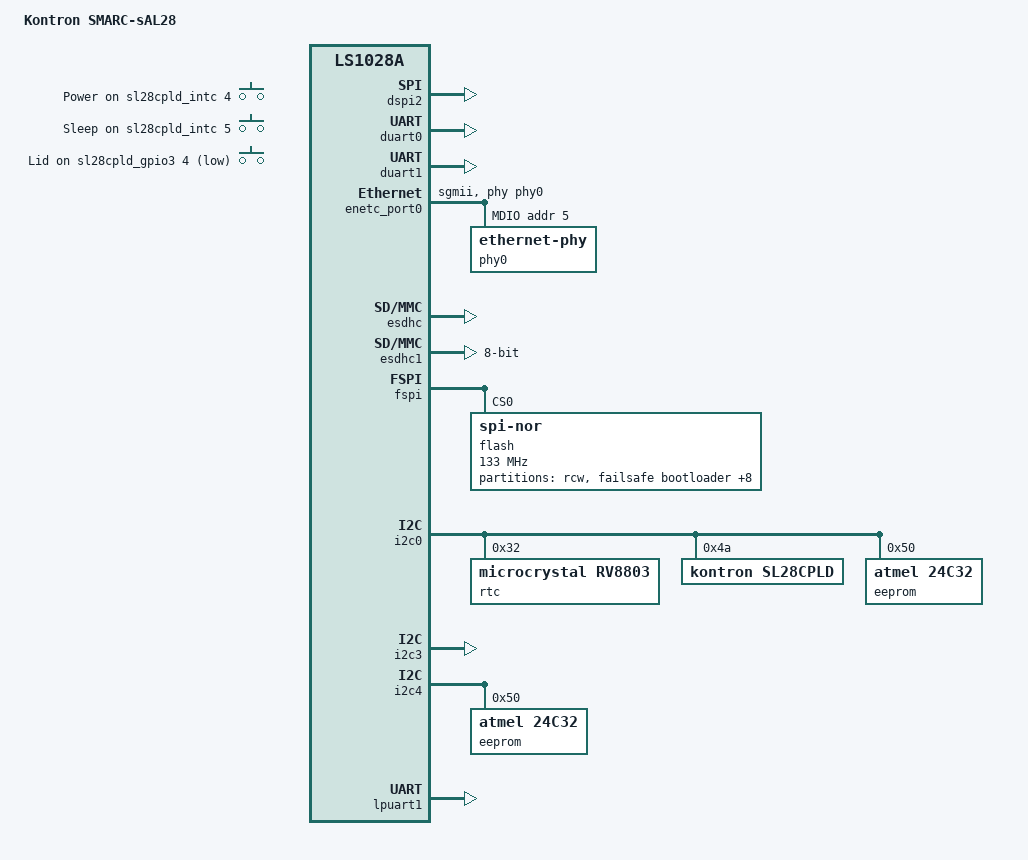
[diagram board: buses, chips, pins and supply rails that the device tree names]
// SPDX-License-Identifier: GPL-2.0+
/*
 * Device Tree file for the Kontron SMARC-sAL28 board.
 *
 * Copyright (C) 2019 Michael Walle <michael@walle.cc>
 *
 */

/dts-v1/;
#include "fsl-ls1028a.dtsi"
#include <dt-bindings/interrupt-controller/irq.h>
#include <dt-bindings/gpio/gpio.h>
#include <dt-bindings/input/input.h>

/ {
	model = "Kontron SMARC-sAL28";
	compatible = "kontron,sl28", "fsl,ls1028a";

	aliases {
		crypto = &crypto;
		serial0 = &duart0;
		serial1 = &duart1;
		serial2 = &lpuart1;
		spi0 = &fspi;
		spi1 = &dspi2;
	};

	buttons0 {
		compatible = "gpio-keys";

		power-button {
			interrupts-extended = <&sl28cpld_intc
					       4 IRQ_TYPE_EDGE_BOTH>;
			linux,code = <KEY_POWER>;
			label = "Power";
		};

		sleep-button {
			interrupts-extended = <&sl28cpld_intc
					       5 IRQ_TYPE_EDGE_BOTH>;
			linux,code = <KEY_SLEEP>;
			label = "Sleep";
		};
	};

	buttons1 {
		compatible = "gpio-keys-polled";
		poll-interval = <200>;

		lid-switch {
			linux,input-type = <EV_SW>;
			linux,code = <SW_LID>;
			gpios = <&sl28cpld_gpio3 4 GPIO_ACTIVE_LOW>;
			label = "Lid";
		};
	};

	chosen {
		stdout-path = "serial0:115200n8";
	};
};

&dspi2 {
	status = "okay";
};

&duart0 {
	status = "okay";
};

&duart1 {
	status = "okay";
};

&enetc_port0 {
	phy-handle = <&phy0>;
	phy-connection-type = "sgmii";
	status = "okay";

	mdio {
		#address-cells = <1>;
		#size-cells = <0>;

		phy0: ethernet-phy@5 {
			reg = <0x5>;
			eee-broken-1000t;
			eee-broken-100tx;
		};
	};
};

&esdhc {
	sd-uhs-sdr104;
	sd-uhs-sdr50;
	sd-uhs-sdr25;
	sd-uhs-sdr12;
	status = "okay";
};

&esdhc1 {
	mmc-hs200-1_8v;
	mmc-hs400-1_8v;
	bus-width = <8>;
	status = "okay";
};

&fspi {
	status = "okay";

	flash@0 {
		#address-cells = <1>;
		#size-cells = <1>;
		compatible = "jedec,spi-nor";
		m25p,fast-read;
		spi-max-frequency = <133000000>;
		reg = <0>;
		/* The following setting enables 1-1-2 (CMD-ADDR-DATA) mode */
		spi-rx-bus-width = <2>; /* 2 SPI Rx lines */
		spi-tx-bus-width = <1>; /* 1 SPI Tx line */

		partition@0 {
			reg = <0x000000 0x010000>;
			label = "rcw";
			read-only;
		};

		partition@10000 {
			reg = <0x010000 0x0f0000>;
			label = "failsafe bootloader";
			read-only;
		};

		partition@100000 {
			reg = <0x100000 0x040000>;
			label = "failsafe DP firmware";
			read-only;
		};

		partition@140000 {
			reg = <0x140000 0x0a0000>;
			label = "failsafe trusted firmware";
			read-only;
		};

		partition@1e0000 {
			reg = <0x1e0000 0x020000>;
			label = "reserved";
			read-only;
		};

		partition@200000 {
			reg = <0x200000 0x010000>;
			label = "configuration store";
		};

		partition@210000 {
			reg = <0x210000 0x0f0000>;
			label = "bootloader";
		};

		partition@300000 {
			reg = <0x300000 0x040000>;
			label = "DP firmware";
		};

		partition@340000 {
			reg = <0x340000 0x0a0000>;
			label = "trusted firmware";
		};

		partition@3e0000 {
			reg = <0x3e0000 0x020000>;
			label = "bootloader environment";
		};
	};
};

&gpio1 {
	gpio-line-names =
		"", "", "", "", "", "", "", "",
		"", "", "", "", "", "", "", "",
		"", "", "", "", "", "", "TDO", "TCK",
		"", "", "", "", "", "", "", "";
};

&gpio2 {
	gpio-line-names =
		"", "", "", "", "", "", "TMS", "TDI",
		"", "", "", "", "", "", "", "",
		"", "", "", "", "", "", "", "",
		"", "", "", "", "", "", "", "";
};

&i2c0 {
	status = "okay";

	rtc@32 {
		compatible = "microcrystal,rv8803";
		reg = <0x32>;
	};

	sl28cpld@4a {
		compatible = "kontron,sl28cpld";
		reg = <0x4a>;
		#address-cells = <1>;
		#size-cells = <0>;

		watchdog@4 {
			compatible = "kontron,sl28cpld-wdt";
			reg = <0x4>;
			kontron,assert-wdt-timeout-pin;
		};

		hwmon@b {
			compatible = "kontron,sl28cpld-fan";
			reg = <0xb>;
		};

		sl28cpld_pwm0: pwm@c {
			compatible = "kontron,sl28cpld-pwm";
			reg = <0xc>;
			#pwm-cells = <2>;
		};

		sl28cpld_pwm1: pwm@e {
			compatible = "kontron,sl28cpld-pwm";
			reg = <0xe>;
			#pwm-cells = <2>;
		};

		sl28cpld_gpio0: gpio@10 {
			compatible = "kontron,sl28cpld-gpio";
			reg = <0x10>;
			interrupts-extended = <&gpio2 6
					       IRQ_TYPE_EDGE_FALLING>;

			gpio-controller;
			#gpio-cells = <2>;
			gpio-line-names =
				"GPIO0_CAM0_PWR_N", "GPIO1_CAM1_PWR_N",
				"GPIO2_CAM0_RST_N", "GPIO3_CAM1_RST_N",
				"GPIO4_HDA_RST_N", "GPIO5_PWM_OUT",
				"GPIO6_TACHIN", "GPIO7";

			interrupt-controller;
			#interrupt-cells = <2>;
		};

		sl28cpld_gpio1: gpio@15 {
			compatible = "kontron,sl28cpld-gpio";
			reg = <0x15>;
			interrupts-extended = <&gpio2 6
					       IRQ_TYPE_EDGE_FALLING>;

			gpio-controller;
			#gpio-cells = <2>;
			gpio-line-names =
				"GPIO8", "GPIO9", "GPIO10", "GPIO11",
				"", "", "", "";

			interrupt-controller;
			#interrupt-cells = <2>;
		};

		sl28cpld_gpio2: gpio@1a {
			compatible = "kontron,sl28cpld-gpo";
			reg = <0x1a>;

			gpio-controller;
			#gpio-cells = <2>;
			gpio-line-names =
				"LCD0 voltage enable",
				"LCD0 backlight enable",
				"eMMC reset", "LVDS bridge reset",
				"LVDS bridge power-down",
				"SDIO power enable",
				"", "";
		};

		sl28cpld_gpio3: gpio@1b {
			compatible = "kontron,sl28cpld-gpi";
			reg = <0x1b>;

			gpio-controller;
			#gpio-cells = <2>;
			gpio-line-names =
				"Power button", "Force recovery", "Sleep",
				"Battery low", "Lid state", "Charging",
				"Charger present", "";
		};

		sl28cpld_intc: interrupt-controller@1c {
			compatible = "kontron,sl28cpld-intc";
			reg = <0x1c>;
			interrupts-extended = <&gpio2 6
					       IRQ_TYPE_EDGE_FALLING>;

			interrupt-controller;
			#interrupt-cells = <2>;
		};
	};

	eeprom@50 {
		compatible = "atmel,24c32";
		reg = <0x50>;
		pagesize = <32>;
	};
};

&i2c3 {
	status = "okay";
};

&i2c4 {
	status = "okay";

	eeprom@50 {
		compatible = "atmel,24c32";
		reg = <0x50>;
		pagesize = <32>;
	};
};

&lpuart1 {
	status = "okay";
};
